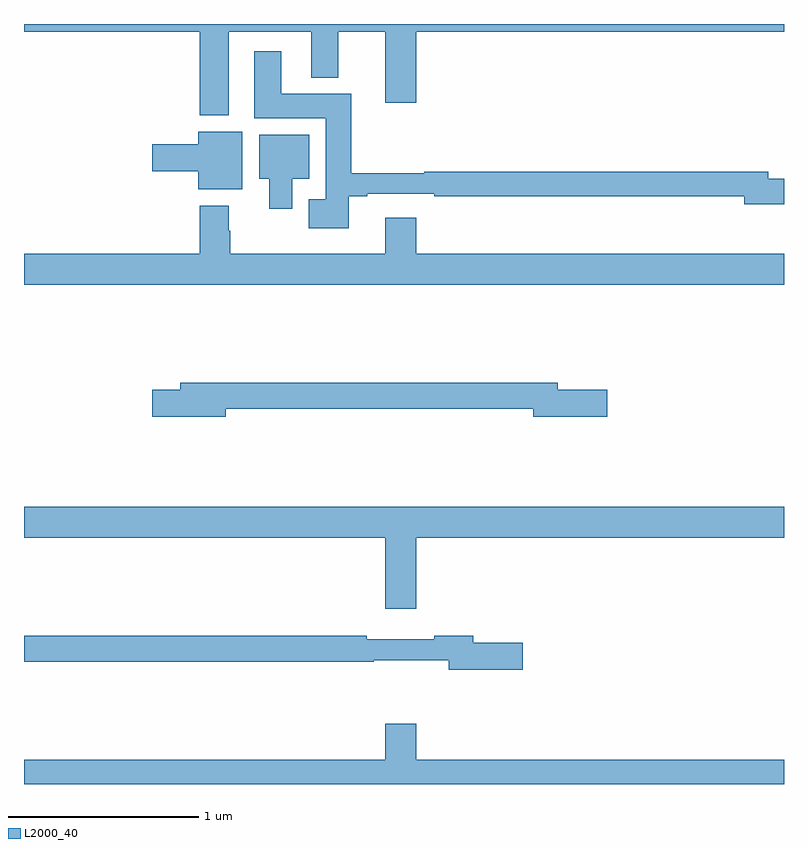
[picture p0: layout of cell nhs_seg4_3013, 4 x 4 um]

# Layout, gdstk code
import gdstk
lib = gdstk.Library(unit=1e-6, precision=1e-09)
def P(c, l, *ps):  # polygons
    for p in ps: c.add(gdstk.Polygon(p, *l))
L2000_40 = (2000, 40)

nhs_seg4_3013 = lib.new_cell('nhs_seg4_3013')
P(nhs_seg4_3013, L2000_40, [(272.077,756.86),(272.513,756.86),(272.513,756.617),(272.653,756.617),(272.653,756.86),(272.9,756.86),(272.9,756.486),(273.064,756.486),(273.064,756.86),(275,756.86),(275,756.9),(271,756.9),(271,756.86),(271.925,756.86),(271.925,756.419),(272.077,756.419)],
  [(272.71,755.994),(272.806,755.994),(272.806,756.006),(273.16,756.006),(273.16,755.994),(274.79,755.994),(274.79,755.951),(275,755.951),(275,756.086),(274.918,756.086),(274.918,756.122),(273.106,756.122),(273.106,756.115),(272.723,756.115),(272.723,756.532),(272.353,756.532),(272.353,756.757),(272.213,756.757),(272.213,756.404),(272.588,756.404),(272.588,755.977),(272.498,755.977),(272.498,755.825),(272.71,755.825)],
  [(272.149,756.334),(271.916,756.334),(271.916,756.266),(271.674,756.266),(271.674,756.124),(271.916,756.124),(271.916,756.029),(272.149,756.029)],
  [(272.413,756.086),(272.5,756.086),(272.5,756.316),(272.237,756.316),(272.237,756.086),(272.291,756.086),(272.291,755.928),(272.413,755.928)],
  [(275,755.692),(273.064,755.692),(273.064,755.881),(272.9,755.881),(272.9,755.692),(272.085,755.692),(272.085,755.813),(272.077,755.813),(272.077,755.944),(271.925,755.944),(271.925,755.692),(271,755.692),(271,755.528),(275,755.528)],
  [(272.062,754.876),(273.68,754.876),(273.68,754.834),(274.069,754.834),(274.069,754.976),(273.808,754.976),(273.808,755.012),(271.823,755.012),(271.823,754.976),(271.674,754.976),(271.674,754.834),(272.062,754.834)],
  [(273.064,754.196),(275,754.196),(275,754.36),(271,754.36),(271,754.196),(272.9,754.196),(272.9,753.822),(273.064,753.822)],
  [(273.625,753.644),(273.364,753.644),(273.364,753.68),(273.16,753.68),(273.16,753.661),(272.804,753.661),(272.804,753.68),(271,753.68),(271,753.544),(272.84,753.544),(272.84,753.552),(273.236,753.552),(273.236,753.502),(273.625,753.502)],
  [(275,753.028),(273.064,753.028),(273.064,753.217),(272.9,753.217),(272.9,753.028),(271,753.028),(271,752.9),(275,752.9)])

lib.write_gds('nhs_seg4_3013.gds')
